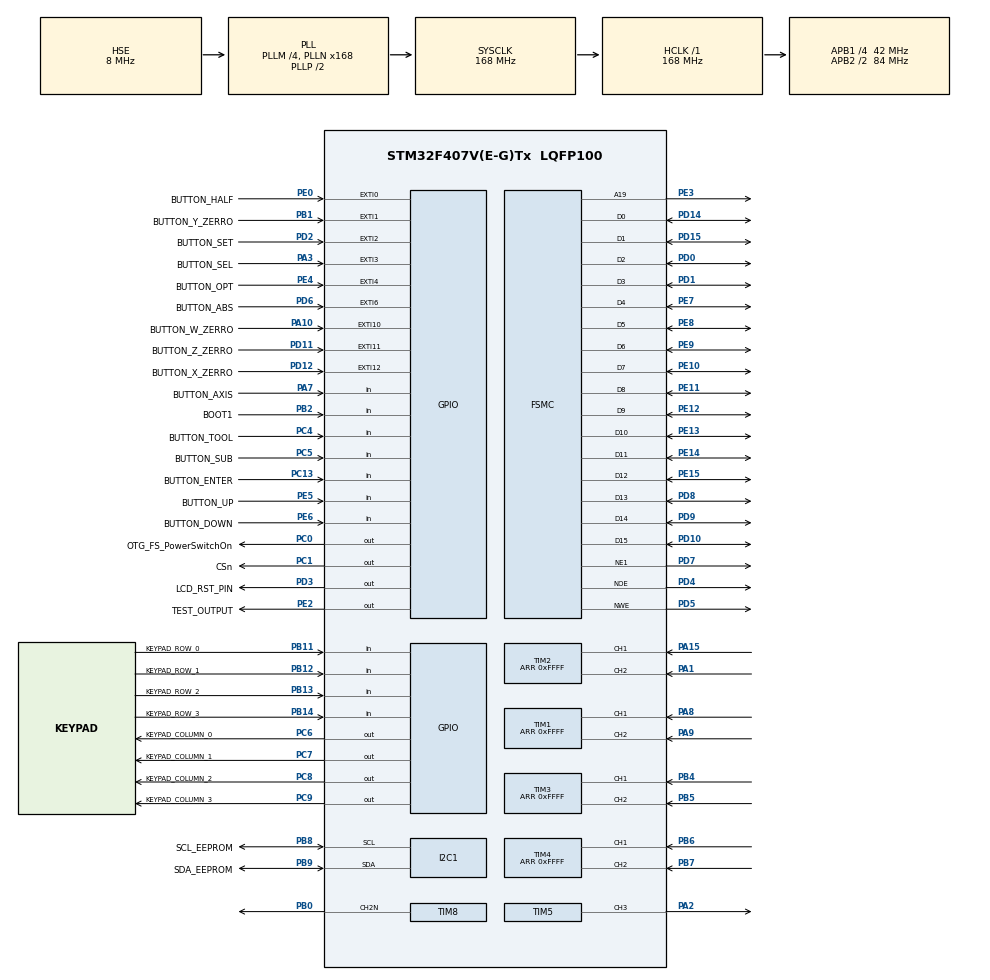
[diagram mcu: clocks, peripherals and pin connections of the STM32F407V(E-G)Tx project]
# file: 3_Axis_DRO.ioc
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Dma.Request0=TIM8_UP
Dma.Request1=TIM8_CH2
Dma.TIM8_CH2.1.Direction=DMA_PERIPH_TO_MEMORY
Dma.TIM8_CH2.1.FIFOMode=DMA_FIFOMODE_DISABLE
Dma.TIM8_CH2.1.Instance=DMA2_Stream3
Dma.TIM8_CH2.1.MemDataAlignment=DMA_MDATAALIGN_HALFWORD
Dma.TIM8_CH2.1.MemInc=DMA_MINC_ENABLE
Dma.TIM8_CH2.1.Mode=DMA_CIRCULAR
Dma.TIM8_CH2.1.PeriphDataAlignment=DMA_PDATAALIGN_HALFWORD
Dma.TIM8_CH2.1.PeriphInc=DMA_PINC_DISABLE
Dma.TIM8_CH2.1.Priority=DMA_PRIORITY_HIGH
Dma.TIM8_UP.0.Direction=DMA_MEMORY_TO_PERIPH
Dma.TIM8_UP.0.FIFOMode=DMA_FIFOMODE_DISABLE
Dma.TIM8_UP.0.Instance=DMA2_Stream1
Dma.TIM8_UP.0.MemDataAlignment=DMA_MDATAALIGN_WORD
Dma.TIM8_UP.0.MemInc=DMA_MINC_ENABLE
Dma.TIM8_UP.0.Mode=DMA_CIRCULAR
Dma.TIM8_UP.0.PeriphDataAlignment=DMA_PDATAALIGN_WORD
Dma.TIM8_UP.0.PeriphInc=DMA_PINC_DISABLE
Dma.TIM8_UP.0.Priority=DMA_PRIORITY_HIGH
FSMC.AddressSetupTime1=6
FSMC.BusTurnAroundDuration1=0
FSMC.DataSetupTime1=6
Mcu.Family=STM32F4
Mcu.Name=STM32F407V(E-G)Tx
Mcu.Package=LQFP100
NVIC.DMA2_Stream1_IRQn=true\:0\:0\:false\:false\:true\:true
NVIC.DMA2_Stream3_IRQn=true\:0\:0\:false\:false\:true\:true
NVIC.EXTI0_IRQn=true\:0\:0\:false\:false\:true\:true
NVIC.EXTI15_10_IRQn=true\:0\:0\:false\:false\:true\:true
NVIC.EXTI1_IRQn=true\:0\:0\:false\:false\:true\:true
NVIC.EXTI2_IRQn=true\:0\:0\:false\:false\:true\:true
NVIC.EXTI3_IRQn=true\:0\:0\:false\:false\:true\:true
NVIC.PriorityGroup=NVIC_PRIORITYGROUP_0
NVIC.TIM1_UP_TIM10_IRQn=true\:0\:0\:false\:false\:true\:true
NVIC.TIM2_IRQn=true\:0\:0\:false\:false\:true\:true
NVIC.TIM3_IRQn=true\:0\:0\:false\:false\:true\:true
NVIC.TIM4_IRQn=true\:0\:0\:false\:false\:true\:true
NVIC.TIM8_UP_TIM13_IRQn=true\:0\:0\:false\:false\:true\:true
PA1.Signal=S_TIM2_CH2
PA10.GPIO_Label=BUTTON_W_ZERRO
PA10.GPIO_PuPd=GPIO_PULLDOWN
PA10.Signal=GPXTI10
PA13.Signal=SYS_JTMS-SWDIO
PA14.GPIO_Label=SWCLK
PA14.Signal=SYS_JTCK-SWCLK
PA15.Signal=S_TIM2_CH1_ETR
PA2.Signal=S_TIM5_CH3
PA3.GPIO_Label=BUTTON_SEL
PA3.Signal=GPXTI3
PA4.GPIO_Label=I2S3_WS [CS43L22_LRCK]
PA4.GPIO_Mode=GPIO_MODE_AF_PP
PA4.GPIO_PuPd=GPIO_NOPULL
PA4.GPIO_Speed=GPIO_SPEED_FREQ_LOW
PA4.Signal=I2S3_WS
PA5.GPIO_Label=SPI1_SCK [LIS302DL_SCL/SPC]
PA5.GPIO_Mode=GPIO_MODE_AF_PP
PA5.GPIO_PuPd=GPIO_NOPULL
PA5.GPIO_Speed=GPIO_SPEED_FREQ_LOW
PA5.Signal=SPI1_SCK
PA6.GPIO_Label=SPI1_MISO [LIS302DL_SDO]
PA6.GPIO_Mode=GPIO_MODE_AF_PP
PA6.GPIO_PuPd=GPIO_NOPULL
PA6.GPIO_Speed=GPIO_SPEED_FREQ_LOW
PA6.Signal=SPI1_MISO
PA7.GPIO_Label=BUTTON_AXIS
PA7.Signal=GPIO_Input
PA8.Signal=S_TIM1_CH1
PA9.Signal=S_TIM1_CH2
PB0.Mode=PWM Generation2 CH2N
PB0.Signal=TIM8_CH2N
PB1.GPIO_Label=BUTTON_Y_ZERRO
PB1.GPIO_PuPd=GPIO_PULLDOWN
PB1.Signal=GPXTI1
PB10.GPIO_Label=CLK_IN [MP45DT02_CLK]
PB10.GPIO_Mode=GPIO_MODE_AF_PP
PB10.GPIO_PuPd=GPIO_NOPULL
PB10.GPIO_Speed=GPIO_SPEED_FREQ_LOW
PB10.Signal=I2S2_CK
PB11.GPIO_Label=KEYPAD_ROW_0
PB11.Signal=GPIO_Input
PB12.GPIO_Label=KEYPAD_ROW_1
PB12.GPIO_PuPd=GPIO_NOPULL
PB12.Signal=GPIO_Input
PB13.GPIO_Label=KEYPAD_ROW_2
PB13.GPIO_PuPd=GPIO_NOPULL
PB13.Signal=GPIO_Input
PB14.GPIO_Label=KEYPAD_ROW_3
PB14.GPIO_PuPd=GPIO_NOPULL
PB14.Signal=GPIO_Input
PB2.GPIO_Label=BOOT1
PB2.GPIO_Mode=GPIO_MODE_INPUT
PB2.GPIO_PuPd=GPIO_NOPULL
PB2.Signal=GPIO_Input
PB3.GPIO_Label=SWO
PB3.Signal=SYS_JTDO-SWO
PB4.Signal=S_TIM3_CH1
PB5.Signal=S_TIM3_CH2
PB6.Signal=S_TIM4_CH1
PB7.Signal=S_TIM4_CH2
PB8.GPIO_Label=SCL_EEPROM
PB8.Mode=I2C
PB8.Signal=I2C1_SCL
PB9.GPIO_Label=SDA_EEPROM
PB9.GPIO_Mode=GPIO_MODE_AF_OD
PB9.GPIO_PuPd=GPIO_NOPULL
PB9.GPIO_Speed=GPIO_SPEED_FREQ_VERY_HIGH
PB9.Mode=I2C
PB9.Signal=I2C1_SDA
PC0.GPIO_Label=OTG_FS_PowerSwitchOn
PC0.GPIO_PuPd=GPIO_NOPULL
PC0.GPIO_Speed=GPIO_SPEED_FREQ_LOW
PC0.PinState=GPIO_PIN_SET
PC0.Signal=GPIO_Output
PC1.GPIO_Label=CSn
PC1.GPIO_ModeDefaultOutputPP=GPIO_MODE_OUTPUT_OD
PC1.Signal=GPIO_Output
PC10.GPIO_Label=I2S3_SCK [CS43L22_SCLK]
PC10.GPIO_Mode=GPIO_MODE_AF_PP
PC10.GPIO_PuPd=GPIO_NOPULL
PC10.GPIO_Speed=GPIO_SPEED_FREQ_LOW
PC10.Signal=I2S3_CK
PC12.GPIO_Label=I2S3_SD [CS43L22_SDIN]
PC12.GPIO_Mode=GPIO_MODE_AF_PP
PC12.GPIO_PuPd=GPIO_NOPULL
PC12.GPIO_Speed=GPIO_SPEED_FREQ_LOW
PC12.Signal=I2S3_SD
PC13-ANTI_TAMP.GPIO_Label=BUTTON_ENTER
PC13-ANTI_TAMP.Signal=GPIO_Input
PC14-OSC32_IN.GPIO_Label=PC14-OSC32_IN
PC14-OSC32_IN.Signal=RCC_OSC32_IN
PC15-OSC32_OUT.GPIO_Label=PC15-OSC32_OUT
PC15-OSC32_OUT.Signal=RCC_OSC32_OUT
PC3.GPIO_Label=PDM_OUT [MP45DT02_DOUT]
PC3.GPIO_Mode=GPIO_MODE_AF_PP
PC3.GPIO_PuPd=GPIO_NOPULL
PC3.GPIO_Speed=GPIO_SPEED_FREQ_LOW
PC3.Signal=I2S2_SD
PC4.GPIO_Label=BUTTON_TOOL
PC4.Signal=GPIO_Input
PC5.GPIO_Label=BUTTON_SUB
PC5.Signal=GPIO_Input
PC6.GPIO_Label=KEYPAD_COLUMN_0
PC6.GPIO_ModeDefaultOutputPP=GPIO_MODE_OUTPUT_PP
PC6.GPIO_PuPd=GPIO_NOPULL
PC6.GPIO_Speed=GPIO_SPEED_FREQ_HIGH
PC6.Signal=GPIO_Output
PC7.GPIO_Label=KEYPAD_COLUMN_1
PC7.GPIO_ModeDefaultOutputPP=GPIO_MODE_OUTPUT_PP
PC7.GPIO_PuPd=GPIO_NOPULL
PC7.GPIO_Speed=GPIO_SPEED_FREQ_HIGH
PC7.Signal=GPIO_Output
PC8.GPIO_Label=KEYPAD_COLUMN_2
PC8.GPIO_ModeDefaultOutputPP=GPIO_MODE_OUTPUT_PP
PC8.GPIO_PuPd=GPIO_NOPULL
PC8.GPIO_Speed=GPIO_SPEED_FREQ_HIGH
PC8.Signal=GPIO_Output
PC9.GPIO_Label=KEYPAD_COLUMN_3
PC9.GPIO_ModeDefaultOutputPP=GPIO_MODE_OUTPUT_PP
PC9.GPIO_PuPd=GPIO_NOPULL
PC9.GPIO_Speed=GPIO_SPEED_FREQ_HIGH
PC9.Signal=GPIO_Output
PD0.Mode=16b-d1
PD0.Signal=FSMC_D2
PD1.Mode=16b-d1
PD1.Signal=FSMC_D3
PD10.Mode=16b-d1
PD10.Signal=FSMC_D15
PD11.GPIO_Label=BUTTON_Z_ZERRO
PD11.GPIO_PuPd=GPIO_PULLDOWN
PD11.Signal=GPXTI11
PD12.GPIO_Label=BUTTON_X_ZERRO
PD12.GPIO_PuPd=GPIO_PULLDOWN
PD12.Signal=GPXTI12
PD14.Mode=16b-d1
PD14.Signal=FSMC_D0
PD15.Mode=16b-d1
PD15.Signal=FSMC_D1
PD2.GPIO_Label=BUTTON_SET
PD2.Signal=GPXTI2
PD3.GPIO_Label=LCD_RST_PIN
PD3.Signal=GPIO_Output
PD4.Mode=Lcd1
PD4.Signal=FSMC_NOE
PD5.Mode=Lcd1
PD5.Signal=FSMC_NWE
PD6.GPIO_Label=BUTTON_ABS
PD6.Signal=GPXTI6
PD7.Mode=NorPsramChipSelect1_1
PD7.Signal=FSMC_NE1
PD8.Mode=16b-d1
PD8.Signal=FSMC_D13
PD9.Mode=16b-d1
PD9.Signal=FSMC_D14
PE0.GPIO_Label=BUTTON_HALF
PE0.Signal=GPXTI0
PE10.Mode=16b-d1
PE10.Signal=FSMC_D7
PE11.Mode=16b-d1
PE11.Signal=FSMC_D8
PE12.Mode=16b-d1
PE12.Signal=FSMC_D9
PE13.Mode=16b-d1
PE13.Signal=FSMC_D10
PE14.Mode=16b-d1
PE14.Signal=FSMC_D11
PE15.Mode=16b-d1
PE15.Signal=FSMC_D12
PE2.GPIO_Label=TEST_OUTPUT
PE2.Signal=GPIO_Output
PE3.Mode=A19_1
PE3.Signal=FSMC_A19
PE4.GPIO_Label=BUTTON_OPT
PE4.Signal=GPXTI4
PE5.GPIO_Label=BUTTON_UP
PE5.Signal=GPIO_Input
PE6.GPIO_Label=BUTTON_DOWN
PE6.Signal=GPIO_Input
PE7.Mode=16b-d1
PE7.Signal=FSMC_D4
PE8.Mode=16b-d1
PE8.Signal=FSMC_D5
PE9.Mode=16b-d1
PE9.Signal=FSMC_D6
PH0-OSC_IN.GPIO_Label=PH0-OSC_IN
PH0-OSC_IN.Mode=HSE-External-Oscillator
PH0-OSC_IN.Signal=RCC_OSC_IN
PH1-OSC_OUT.GPIO_Label=PH1-OSC_OUT
PH1-OSC_OUT.Mode=HSE-External-Oscillator
PH1-OSC_OUT.Signal=RCC_OSC_OUT
ProjectManager.HeapSize=0x200
ProjectManager.StackSize=0x400
ProjectManager.TargetToolchain=TrueSTUDIO
RCC.48MHZClocksFreq_Value=48000000
RCC.AHBFreq_Value=168000000
RCC.APB1CLKDivider=RCC_HCLK_DIV4
RCC.APB1Freq_Value=42000000
RCC.APB1TimFreq_Value=84000000
RCC.APB2CLKDivider=RCC_HCLK_DIV2
RCC.APB2Freq_Value=84000000
RCC.APB2TimFreq_Value=168000000
RCC.CortexFreq_Value=168000000
RCC.HCLKFreq_Value=168000000
RCC.HSE_VALUE=8000000
RCC.HSI_VALUE=16000000
RCC.LSE_VALUE=32768
RCC.PLLM=4
RCC.PLLN=168
RCC.PLLQ=7
RCC.PLLSourceVirtual=RCC_PLLSOURCE_HSE
RCC.SYSCLKFreq_VALUE=168000000
RCC.SYSCLKSource=RCC_SYSCLKSOURCE_PLLCLK
RCC.VCOOutputFreq_Value=336000000
SH.S_TIM1_CH1.0=TIM1_CH1,Encoder_Interface
SH.S_TIM1_CH2.0=TIM1_CH2,Encoder_Interface
SH.S_TIM2_CH1_ETR.0=TIM2_CH1,Encoder_Interface
SH.S_TIM2_CH2.0=TIM2_CH2,Encoder_Interface
SH.S_TIM3_CH1.0=TIM3_CH1,Encoder_Interface
SH.S_TIM3_CH2.0=TIM3_CH2,Encoder_Interface
SH.S_TIM4_CH1.0=TIM4_CH1,Encoder_Interface
SH.S_TIM4_CH2.0=TIM4_CH2,Encoder_Interface
SH.S_TIM5_CH3.0=TIM5_CH3,PWM Generation3 CH3
TIM1.EncoderMode=TIM_ENCODERMODE_TI12
TIM1.Period=0xFFFF
TIM2.EncoderMode=TIM_ENCODERMODE_TI12
TIM2.Period=0xFFFF
TIM3.EncoderMode=TIM_ENCODERMODE_TI12
TIM3.Period=0xFFFF
TIM4.CounterMode=TIM_COUNTERMODE_UP
TIM4.EncoderMode=TIM_ENCODERMODE_TI12
TIM4.Period=0xFFFF
TIM4.TIM_MasterOutputTrigger=TIM_TRGO_UPDATE
TIM5.Channel-PWM\ Generation3\ CH3=TIM_CHANNEL_3
TIM8.Channel-PWM\ Generation2\ CH2N=TIM_CHANNEL_2
TIM8.ClockDivision=TIM_CLOCKDIVISION_DIV4
TIM8.Period=100
TIM8.Prescaler=31999
TIM8.Pulse-PWM\ Generation2\ CH2N=50
board=STM32F4DISCOVERY

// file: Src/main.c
/**
  ******************************************************************************
  * @file           : main.c
  * @brief          : Main program body
  ******************************************************************************
  ** This notice applies to any and all portions of this file
  * that are not between comment pairs USER CODE BEGIN and
  * USER CODE END. Other portions of this file, whether
  * inserted by the user or by software development tools
  * are owned by their respective copyright owners.
  *
  * COPYRIGHT(c) 2019 STMicroelectronics
  *
  * Redistribution and use in source and binary forms, with or without modification,
  * are permitted provided that the following conditions are met:
  *   1. Redistributions of source code must retain the above copyright notice,
  *      this list of conditions and the following disclaimer.
  *   2. Redistributions in binary form must reproduce the above copyright notice,
  *      this list of conditions and the following disclaimer in the documentation
  *      and/or other materials provided with the distribution.
  *   3. Neither the name of STMicroelectronics nor the names of its contributors
  *      may be used to endorse or promote products derived from this software
  *      without specific prior written permission.
  *
  * THIS SOFTWARE IS PROVIDED BY THE COPYRIGHT HOLDERS AND CONTRIBUTORS "AS IS"
  * AND ANY EXPRESS OR IMPLIED WARRANTIES, INCLUDING, BUT NOT LIMITED TO, THE
  * IMPLIED WARRANTIES OF MERCHANTABILITY AND FITNESS FOR A PARTICULAR PURPOSE ARE
  * DISCLAIMED. IN NO EVENT SHALL THE COPYRIGHT HOLDER OR CONTRIBUTORS BE LIABLE
  * FOR ANY DIRECT, INDIRECT, INCIDENTAL, SPECIAL, EXEMPLARY, OR CONSEQUENTIAL
  * DAMAGES (INCLUDING, BUT NOT LIMITED TO, PROCUREMENT OF SUBSTITUTE GOODS OR
  * SERVICES; LOSS OF USE, DATA, OR PROFITS; OR BUSINESS INTERRUPTION) HOWEVER
  * CAUSED AND ON ANY THEORY OF LIABILITY, WHETHER IN CONTRACT, STRICT LIABILITY,
  * OR TORT (INCLUDING NEGLIGENCE OR OTHERWISE) ARISING IN ANY WAY OUT OF THE USE
  * OF THIS SOFTWARE, EVEN IF ADVISED OF THE POSSIBILITY OF SUCH DAMAGE.
  *
  ******************************************************************************
  */
#include "main.h"
#include "stm32f4xx_hal.h"
#include "dma.h"
#include "i2c.h"
#include "tim.h"
#include "gpio.h"
#include "fsmc.h"

/* USER CODE BEGIN Includes */
#include "ssd2119_LCD.h"
#include "fonts.h"
#include "dro.h"
#include "4x4_matrix_key_pad.h"
#include <math.h>
/* USER CODE END Includes */

/* USER CODE BEGIN PV */
/* Private variables ---------------------------------------------------------*/
uint32_t test = 0;

char buff[30];
char buff2[30];
char buff3[30];
float travel = 0.0;
int intVal =0;
int vor = 0;
int nach = 0;
int value = 0;
int32_t offset = 0;
uint16_t dir1 = 0;
uint16_t dir = 0;
int32_t pos = 0;
int32_t underOverFlowCn = 0;
keyPad_t testKey = no_key;

extern uint32_t wOverflowCounter;

/* USER CODE END PV */

void SystemClock_Config(void);

/* USER CODE BEGIN PFP */
/* Private function prototypes -----------------------------------------------*/

/* USER CODE END PFP */

int main(void)
{

  /* MCU Configuration----------------------------------------------------------*/

  /* Reset of all peripherals, Initializes the Flash interface and the Systick. */
  HAL_Init();

  /* Configure the system clock */
  SystemClock_Config();

  /* Initialize all configured peripherals */
  MX_GPIO_Init();
  MX_DMA_Init();
  MX_FSMC_Init();
  MX_TIM1_Init();
  MX_TIM2_Init();
  MX_TIM3_Init();
  MX_TIM5_Init();
  MX_TIM4_Init();
  MX_TIM8_Init();
  MX_I2C1_Init();
  /* USER CODE BEGIN 2 */
  Init_DRO();

  STM32f4_Discovery_LCD_Init();
  LCD_Clear(LCD_COLOR_BLACK);
  LCD_SetBackColor(LCD_COLOR_BLACK);
  LCD_SetTextColor(LCD_COLOR_GREEN);

  Show_StartUp_Dysplay();
  Init_Matrix_Key_Pad();

  Abs_Zeroing_Axis(ALL_Axis);
  Rel_Zeroing_Axis(ALL_Axis);

  /* USER CODE END 2 */

  /* Infinite loop */
  while (1)
  {

  /* USER CODE BEGIN 3 */
	  HAL_Delay(25);
	  //HAL_GPIO_WritePin(TEST_OUTPUT_GPIO_Port, TEST_OUTPUT_Pin,GPIO_PIN_SET);
	  Update_Display();
	  //HAL_GPIO_WritePin(TEST_OUTPUT_GPIO_Port, TEST_OUTPUT_Pin,GPIO_PIN_RESET);

	/*  if(HAL_GPIO_ReadPin(B1_GPIO_Port, B1_Pin) == GPIO_PIN_SET){
	  		  offset = TIM1->CNT - TIMER_OFFSET_16BIT + underOverFlowCn*TIMER_OFFSET_16BIT;
	  		  Abs_Zeroing_Axis(X_Axis);
	  		  Abs_Zeroing_Axis(Y_Axis);
	  		  Abs_Zeroing_Axis(Z_Axis);
	  	  }*/
	  test = TIM2->CNT;
	  value = (int)(TIM2->CNT - TIMER_OFFSET_16BIT + wOverflowCounter * TIMER_OFFSET_16BIT - offset);
	  travel = value/1024 * 2 ;
	  intVal = travel *1000;
	  vor = intVal/1000;
	  nach = abs(intVal%1000);
	  dir1 = (TIM1->CR1);
	  dir = (dir1 & 0x0010)>>4;

	  testKey = Get_Key();

	  snprintf(buff2, sizeof(buff2), "%lu key= %02u", test, testKey);
	  snprintf(buff, sizeof(buff), "DIR=%u O=%02li",dir, wOverflowCounter);
	  snprintf(buff3, sizeof(buff), "Test=%4d.%03d",vor,nach);
	  LCD_DisplayStringLine(LINE(7), (uint8_t *)buff2);
	  LCD_DisplayStringLine(LINE(8), (uint8_t *)buff3);
	  LCD_DisplayStringLine(LINE(9), (uint8_t *)buff);

  }
  /* USER CODE END 3 */

}

void SystemClock_Config(void)
{

  RCC_OscInitTypeDef RCC_OscInitStruct;
  RCC_ClkInitTypeDef RCC_ClkInitStruct;

    /**Configure the main internal regulator output voltage
    */
  __HAL_RCC_PWR_CLK_ENABLE();

  __HAL_PWR_VOLTAGESCALING_CONFIG(PWR_REGULATOR_VOLTAGE_SCALE1);

    /**Initializes the CPU, AHB and APB busses clocks
    */
  RCC_OscInitStruct.OscillatorType = RCC_OSCILLATORTYPE_HSE;
  RCC_OscInitStruct.HSEState = RCC_HSE_ON;
  RCC_OscInitStruct.PLL.PLLState = RCC_PLL_ON;
  RCC_OscInitStruct.PLL.PLLSource = RCC_PLLSOURCE_HSE;
  RCC_OscInitStruct.PLL.PLLM = 4;
  RCC_OscInitStruct.PLL.PLLN = 168;
  RCC_OscInitStruct.PLL.PLLP = RCC_PLLP_DIV2;
  RCC_OscInitStruct.PLL.PLLQ = 7;
  if (HAL_RCC_OscConfig(&RCC_OscInitStruct) != HAL_OK)
  {
    _Error_Handler(__FILE__, __LINE__);
  }

    /**Initializes the CPU, AHB and APB busses clocks
    */
  RCC_ClkInitStruct.ClockType = RCC_CLOCKTYPE_HCLK|RCC_CLOCKTYPE_SYSCLK
                              |RCC_CLOCKTYPE_PCLK1|RCC_CLOCKTYPE_PCLK2;
  RCC_ClkInitStruct.SYSCLKSource = RCC_SYSCLKSOURCE_PLLCLK;
  RCC_ClkInitStruct.AHBCLKDivider = RCC_SYSCLK_DIV1;
  RCC_ClkInitStruct.APB1CLKDivider = RCC_HCLK_DIV4;
  RCC_ClkInitStruct.APB2CLKDivider = RCC_HCLK_DIV2;

  if (HAL_RCC_ClockConfig(&RCC_ClkInitStruct, FLASH_LATENCY_5) != HAL_OK)
  {
    _Error_Handler(__FILE__, __LINE__);
  }

    /**Configure the Systick interrupt time
    */
  HAL_SYSTICK_Config(HAL_RCC_GetHCLKFreq()/1000);

    /**Configure the Systick
    */
  HAL_SYSTICK_CLKSourceConfig(SYSTICK_CLKSOURCE_HCLK);

  /* SysTick_IRQn interrupt configuration */
  HAL_NVIC_SetPriority(SysTick_IRQn, 0, 0);
}

void _Error_Handler(char *file, int line)
{
  while(1)
  {
  }
}

/************************ (C) COPYRIGHT STMicroelectronics *****END OF FILE****/
